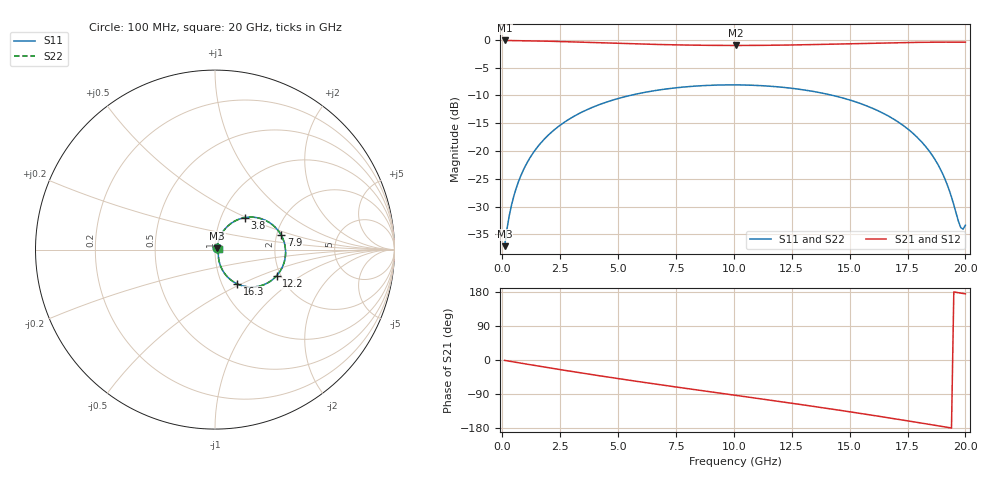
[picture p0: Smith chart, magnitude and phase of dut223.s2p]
! Touchstone file exported from HFSS 2026.1.0
!  File:  C:/ffzhzh/LocalFiles/Ansys_Project_Files/temp_train_TSV_RDL_223_1783063323_18316.aedt
!  Generated:  03:33:50 PM Jul  3, 2026
!  Design:  TSV_RDL
!  Project:  temp_train_TSV_RDL_223_1783063323_18316
! Variables:
!  h_bsmrdl = 4.65um
!  h_ox = 20um
!  h_rdl = 5um
!  h_sub = 94.8um
!  h_tmrdl = 4.98um
!  h_tsv = 94.8um
!  h_via = 3um
!  l_bsmrdl = 644.67um
!  l_sub = 2896.38um
!  l_tmrdl = 104.45um
!  m_sub = 200um
!  pitch = 39.01um
!  r_tsv = 7.35um
!  s_tmrdl = 10um
!  w_bsmrdl = 18.23um
!  w_sub = 500um
!  w_tmrdl = 29.96um
!  x_tsv_center1 = 119.43um
!  x_tsv_center2 = 782.33um
!  x_tsv_center3 = 916.74um
!  x_tsv_center4 = 1579.64um
!  x_tsv_center5 = 1714.05um
!  x_tsv_center6 = 2376.95um
# GHz S MA R 50.000000
! Terminal data exported
! Port[1] = TM_RDL1_1_T1
! Port[2] = TM_RDL5_1_T1
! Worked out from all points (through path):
!   200 points, 100 MHz to 20 GHz, reference 50 ohm
!   highest |S21| = -0.10 dB at 100 MHz (marker M1); lowest = -1.0 dB at 10.1 GHz (marker M2)
!   group delay of S21, straight-line fit = 25.1 ps
!   lowest |S11| = -37.1 dB at 100 MHz (marker M3), VSWR 1.03, Z = 51.2 + j0.807 ohm
!   |S11| at or under -10 dB: start of sweep to 5.513 GHz; 14.28 GHz to end of sweep
!   |S22| runs from -37.1 to -8.1 dB; largest |S21 - S12| = 2.1e-14
!   S11 on the Smith chart (normalised r, x): 100 MHz: 1.02, +0.02; 3.8 GHz: 1.29, +0.49; 7.9 GHz: 2.12, +0.39; 12.2 GHz: 1.90, -0.65; 16.3 GHz: 1.18, -0.47; 20 GHz: 1.04, +0.01
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0.1  0.01394 34.5  0.9886 -1.1  0.9886 -1.1  0.01394 34.5
! Gamma 0 0 0 0
! Port Impedance 50 0 50 0
0.3  0.02617 58.2  0.9872 -3.2  0.9872 -3.2  0.02617 58.2
0.5  0.03947 65.2  0.9861 -5.2  0.9861 -5.2  0.03947 65.2
0.8  0.05994 68.2  0.9843 -8.3  0.9843 -8.3  0.05994 68.2
1.1  0.08048 68.1  0.9821 -11.3  0.9821 -11.3  0.08048 68.1
2.1  0.1463 61.8  0.972 -21.4  0.972 -21.4  0.1463 61.8
3.5  0.2274 49.8  0.953 -35.0  0.953 -35.0  0.2274 49.8
3.8  0.2427 47.2  0.9486 -37.9  0.9486 -37.9  0.2427 47.2
5.3  0.3084 34.0  0.927 -51.7  0.927 -51.7  0.3084 34.0
6.8  0.3553 21.3  0.9088 -65.1  0.9088 -65.1  0.3553 21.3
7.9  0.3778 12.1  0.8992 -74.6  0.8992 -74.6  0.3778 12.1
10.1  0.3939 -5.9  0.8913 -93.4  0.8913 -93.4  0.3939 -5.9
12.2  0.373 -23.0  0.8982 -111.5  0.8982 -111.5  0.373 -23.0
13.4  0.3448 -33.0  0.9075 -122.1  0.9075 -122.1  0.3448 -33.0
16.3  0.2267 -57.2  0.9372 -148.9  0.9372 -148.9  0.2267 -57.2
16.7  0.2051 -60.4  0.9411 -152.7  0.9411 -152.7  0.2051 -60.4
17.7  0.1466 -67.7  0.9491 -162.5  0.9491 -162.5  0.1466 -67.7
18.5  0.09597 -71.3  0.9534 -170.4  0.9534 -170.4  0.09596 -71.3
19.2  0.05081 -67.1  0.9551 -177.5  0.9551 -177.5  0.0508 -67.1
19.8  0.02049 -21.3  0.9548 176.5  0.9548 176.5  0.02048 -21.3
19.9  0.01981 -2.5  0.9546 175.5  0.9546 175.5  0.01981 -2.5
20  0.02149 15.3  0.9544 174.5  0.9544 174.5  0.0215 15.4
